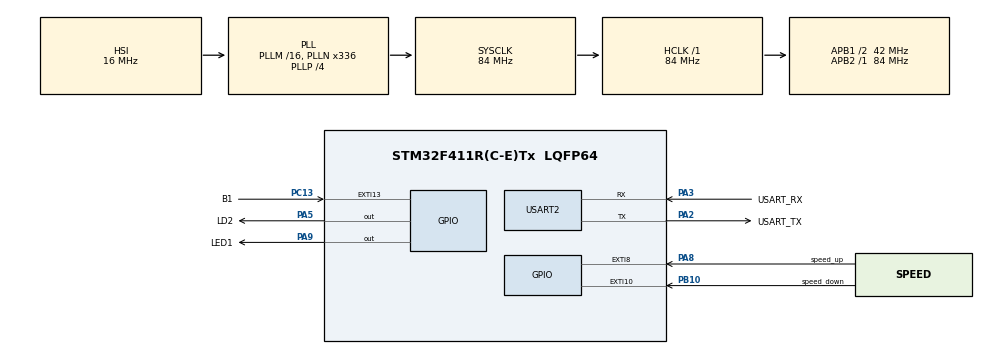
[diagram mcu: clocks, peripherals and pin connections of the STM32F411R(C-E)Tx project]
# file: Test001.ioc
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Mcu.Family=STM32F4
Mcu.Name=STM32F411R(C-E)Tx
Mcu.Package=LQFP64
NVIC.EXTI15_10_IRQn=true\:0\:0\:false\:false\:true\:true\:true\:true
NVIC.EXTI9_5_IRQn=true\:0\:0\:false\:false\:true\:true\:true\:true
NVIC.PriorityGroup=NVIC_PRIORITYGROUP_0
PA13.GPIO_Label=TMS
PA13.Mode=Serial_Wire
PA13.Signal=SYS_JTMS-SWDIO
PA14.GPIO_Label=TCK
PA14.Mode=Serial_Wire
PA14.Signal=SYS_JTCK-SWCLK
PA2.GPIO_Label=USART_TX
PA2.Mode=Asynchronous
PA2.Signal=USART2_TX
PA3.GPIO_Label=USART_RX
PA3.Mode=Asynchronous
PA3.Signal=USART2_RX
PA5.GPIO_Label=LD2
PA5.Signal=GPIO_Output
PA8.GPIO_Label=speed_up
PA8.GPIO_ModeDefaultEXTI=GPIO_MODE_IT_FALLING
PA8.Signal=GPXTI8
PA9.GPIO_Label=LED1
PA9.PinState=GPIO_PIN_SET
PA9.Signal=GPIO_Output
PB10.GPIO_Label=speed_down
PB10.Signal=GPXTI10
PB3.GPIO_Label=SWO
PB3.Signal=SYS_JTDO-SWO
PC13-ANTI_TAMP.GPIO_Label=B1
PC13-ANTI_TAMP.GPIO_ModeDefaultEXTI=GPIO_MODE_IT_FALLING
PC13-ANTI_TAMP.Signal=GPXTI13
PC14-OSC32_IN.Mode=LSE-External-Oscillator
PC14-OSC32_IN.Signal=RCC_OSC32_IN
PC15-OSC32_OUT.Mode=LSE-External-Oscillator
PC15-OSC32_OUT.Signal=RCC_OSC32_OUT
PH0\ -\ OSC_IN.Mode=HSE-External-Clock-Source
PH0\ -\ OSC_IN.Signal=RCC_OSC_IN
PH1\ -\ OSC_OUT.Mode=HSE-External-Clock-Source
PH1\ -\ OSC_OUT.Signal=RCC_OSC_OUT
ProjectManager.HeapSize=0x200
ProjectManager.StackSize=0x400
ProjectManager.TargetToolchain=STM32CubeIDE
RCC.48MHZClocksFreq_Value=84000000
RCC.AHBFreq_Value=84000000
RCC.APB1CLKDivider=RCC_HCLK_DIV2
RCC.APB1Freq_Value=42000000
RCC.APB1TimFreq_Value=84000000
RCC.APB2Freq_Value=84000000
RCC.APB2TimFreq_Value=84000000
RCC.CortexFreq_Value=84000000
RCC.FLatency-AdvancedSettings=FLASH_LATENCY_2
RCC.HCLKFreq_Value=84000000
RCC.HSE_VALUE=8000000
RCC.HSI_VALUE=16000000
RCC.PLLN=336
RCC.PLLP=RCC_PLLP_DIV4
RCC.SYSCLKFreq_VALUE=84000000
RCC.SYSCLKSource=RCC_SYSCLKSOURCE_PLLCLK
RCC.VCOOutputFreq_Value=336000000
USART2.VirtualMode=VM_ASYNC
board=NUCLEO-F411RE

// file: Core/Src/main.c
/* USER CODE BEGIN Header */
/**
 ******************************************************************************
 * @file           : main.c
 * @brief          : Main program body
 ******************************************************************************
 * @attention
 *
 * Copyright (c) 2024 STMicroelectronics.
 * All rights reserved.
 *
 * This software is licensed under terms that can be found in the LICENSE file
 * in the root directory of this software component.
 * If no LICENSE file comes with this software, it is provided AS-IS.
 *
 ******************************************************************************
 */
/* USER CODE END Header */
#include "main.h"

/* USER CODE BEGIN Includes */
#include <stdio.h>
/* USER CODE END Includes */

UART_HandleTypeDef huart2;

void SystemClock_Config(void);
static void MX_GPIO_Init(void);
static void MX_USART2_UART_Init(void);

/* USER CODE BEGIN 0 */
void
StandBy ()
{
  while (HAL_GPIO_ReadPin (B1_GPIO_Port, B1_Pin));
}

int check = 0;
int delays = 500;
/* USER CODE END 0 */

int main(void)
{

  /* MCU Configuration--------------------------------------------------------*/

  /* Reset of all peripherals, Initializes the Flash interface and the Systick. */
  HAL_Init();

  /* Configure the system clock */
  SystemClock_Config();

  /* Initialize all configured peripherals */
  MX_GPIO_Init();
  MX_USART2_UART_Init();
  /* USER CODE BEGIN 2 */

  //HAL_GPIO_WritePin(LD2_GPIO_Port, LD2_Pin, 0); //?��?�� LED off
  StandBy ();

  /*  HAL_GPIO_WritePIN(GPIOA, GPIO_PIN_5, 1);*/

  /* USER CODE END 2 */

  /* Infinite loop */
  while (1)
    {

    /* USER CODE BEGIN 3 */
      /*if (HAL_GPIO_ReadPin (B1_GPIO_Port, B1_Pin) == 0)
	{
	  //if (HAL_GPIO_ReadPin(LD2_GPIO_Port, LD2_Pin, 0));
	  if (check == 0)
	    check = 1; //check = check ? 0: 1;
	  else
	    check = 0;

	}*/

      if (check)
	{
	  HAL_GPIO_WritePin (LD2_GPIO_Port, LD2_Pin, 0);
	  HAL_Delay (1000);
	  HAL_GPIO_WritePin (LD2_GPIO_Port, LD2_Pin, 1);
	  HAL_Delay (1000);
	}
      else
	HAL_GPIO_WritePin (LD2_GPIO_Port, LD2_Pin, 0);

      HAL_GPIO_WritePin (LED1_GPIO_Port, LED1_Pin, 0);
      	  HAL_Delay (delays);
      	  HAL_GPIO_WritePin (LED1_GPIO_Port, LED1_Pin, 1);
      	  HAL_Delay (delays);

    }
  /* USER CODE END 3 */
}

void SystemClock_Config(void)
{
  RCC_OscInitTypeDef RCC_OscInitStruct = {0};
  RCC_ClkInitTypeDef RCC_ClkInitStruct = {0};

  /** Configure the main internal regulator output voltage
  */
  __HAL_RCC_PWR_CLK_ENABLE();
  __HAL_PWR_VOLTAGESCALING_CONFIG(PWR_REGULATOR_VOLTAGE_SCALE1);

  /** Initializes the RCC Oscillators according to the specified parameters
  * in the RCC_OscInitTypeDef structure.
  */
  RCC_OscInitStruct.OscillatorType = RCC_OSCILLATORTYPE_HSI;
  RCC_OscInitStruct.HSIState = RCC_HSI_ON;
  RCC_OscInitStruct.HSICalibrationValue = RCC_HSICALIBRATION_DEFAULT;
  RCC_OscInitStruct.PLL.PLLState = RCC_PLL_ON;
  RCC_OscInitStruct.PLL.PLLSource = RCC_PLLSOURCE_HSI;
  RCC_OscInitStruct.PLL.PLLM = 16;
  RCC_OscInitStruct.PLL.PLLN = 336;
  RCC_OscInitStruct.PLL.PLLP = RCC_PLLP_DIV4;
  RCC_OscInitStruct.PLL.PLLQ = 4;
  if (HAL_RCC_OscConfig(&RCC_OscInitStruct) != HAL_OK)
  {
    Error_Handler();
  }

  /** Initializes the CPU, AHB and APB buses clocks
  */
  RCC_ClkInitStruct.ClockType = RCC_CLOCKTYPE_HCLK|RCC_CLOCKTYPE_SYSCLK
                              |RCC_CLOCKTYPE_PCLK1|RCC_CLOCKTYPE_PCLK2;
  RCC_ClkInitStruct.SYSCLKSource = RCC_SYSCLKSOURCE_PLLCLK;
  RCC_ClkInitStruct.AHBCLKDivider = RCC_SYSCLK_DIV1;
  RCC_ClkInitStruct.APB1CLKDivider = RCC_HCLK_DIV2;
  RCC_ClkInitStruct.APB2CLKDivider = RCC_HCLK_DIV1;

  if (HAL_RCC_ClockConfig(&RCC_ClkInitStruct, FLASH_LATENCY_2) != HAL_OK)
  {
    Error_Handler();
  }
}

static void MX_USART2_UART_Init(void)
{

  huart2.Instance = USART2;
  huart2.Init.BaudRate = 115200;
  huart2.Init.WordLength = UART_WORDLENGTH_8B;
  huart2.Init.StopBits = UART_STOPBITS_1;
  huart2.Init.Parity = UART_PARITY_NONE;
  huart2.Init.Mode = UART_MODE_TX_RX;
  huart2.Init.HwFlowCtl = UART_HWCONTROL_NONE;
  huart2.Init.OverSampling = UART_OVERSAMPLING_16;
  if (HAL_UART_Init(&huart2) != HAL_OK)
  {
    Error_Handler();
  }

}

static void MX_GPIO_Init(void)
{
  GPIO_InitTypeDef GPIO_InitStruct = {0};

  /* GPIO Ports Clock Enable */
  __HAL_RCC_GPIOC_CLK_ENABLE();
  __HAL_RCC_GPIOH_CLK_ENABLE();
  __HAL_RCC_GPIOA_CLK_ENABLE();
  __HAL_RCC_GPIOB_CLK_ENABLE();

  /*Configure GPIO pin Output Level */
  HAL_GPIO_WritePin(LD2_GPIO_Port, LD2_Pin, GPIO_PIN_RESET);

  /*Configure GPIO pin Output Level */
  HAL_GPIO_WritePin(LED1_GPIO_Port, LED1_Pin, GPIO_PIN_SET);

  /*Configure GPIO pin : B1_Pin */
  GPIO_InitStruct.Pin = B1_Pin;
  GPIO_InitStruct.Mode = GPIO_MODE_IT_FALLING;
  GPIO_InitStruct.Pull = GPIO_NOPULL;
  HAL_GPIO_Init(B1_GPIO_Port, &GPIO_InitStruct);

  /*Configure GPIO pins : LD2_Pin LED1_Pin */
  GPIO_InitStruct.Pin = LD2_Pin|LED1_Pin;
  GPIO_InitStruct.Mode = GPIO_MODE_OUTPUT_PP;
  GPIO_InitStruct.Pull = GPIO_NOPULL;
  GPIO_InitStruct.Speed = GPIO_SPEED_FREQ_LOW;
  HAL_GPIO_Init(GPIOA, &GPIO_InitStruct);

  /*Configure GPIO pin : speed_down_Pin */
  GPIO_InitStruct.Pin = speed_down_Pin;
  GPIO_InitStruct.Mode = GPIO_MODE_IT_RISING;
  GPIO_InitStruct.Pull = GPIO_NOPULL;
  HAL_GPIO_Init(speed_down_GPIO_Port, &GPIO_InitStruct);

  /*Configure GPIO pin : speed_up_Pin */
  GPIO_InitStruct.Pin = speed_up_Pin;
  GPIO_InitStruct.Mode = GPIO_MODE_IT_FALLING;
  GPIO_InitStruct.Pull = GPIO_NOPULL;
  HAL_GPIO_Init(speed_up_GPIO_Port, &GPIO_InitStruct);

  /* EXTI interrupt init*/
  HAL_NVIC_SetPriority(EXTI9_5_IRQn, 0, 0);
  HAL_NVIC_EnableIRQ(EXTI9_5_IRQn);

  HAL_NVIC_SetPriority(EXTI15_10_IRQn, 0, 0);
  HAL_NVIC_EnableIRQ(EXTI15_10_IRQn);

}

/* USER CODE BEGIN 4 */
void
HAL_GPIO_EXTI_Callback (uint16_t GPIO_Pin)	//Ext-Interrupt ISR
{
  switch (GPIO_Pin)
    {
    case B1_Pin:
      if (check == 0)
	check = 1; //check = check ? 0: 1;
      else
	check = 0;
      break;

    case speed_up_Pin:
      delays = (delays < 200) ? 200 : delays - 100;
      check = 0;
      break;

    case speed_down_Pin:
      delays = (delays > 1000) ? 1000 : delays + 100;
      check = 0;
      break;

    default:
      ;
    }

}

/* USER CODE END 4 */

void Error_Handler(void)
{
  /* USER CODE BEGIN Error_Handler_Debug */
  /* User can add his own implementation to report the HAL error return state */
  __disable_irq ();
  while (1)
    {
    }
  /* USER CODE END Error_Handler_Debug */
}
